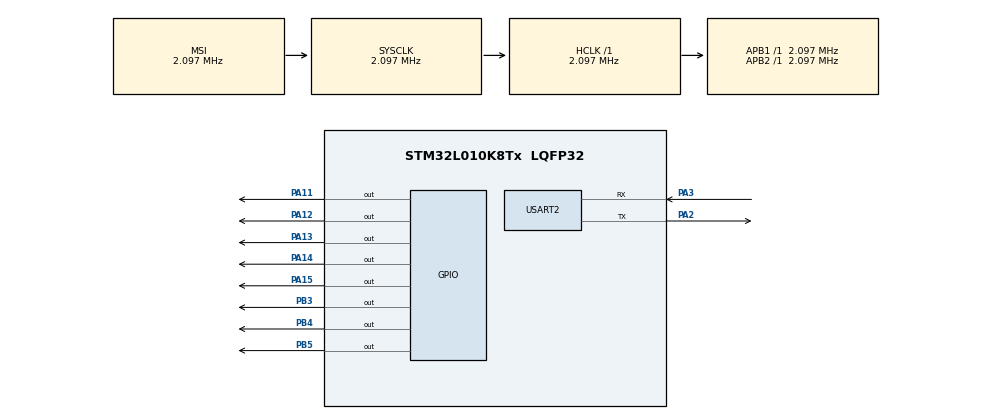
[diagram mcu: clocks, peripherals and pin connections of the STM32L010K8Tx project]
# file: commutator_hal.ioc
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Mcu.Family=STM32L0
Mcu.Name=STM32L010K8Tx
Mcu.Package=LQFP32
NVIC.USART2_IRQn=true\:0\:0\:false\:false\:true\:true\:true\:true
PA11.Signal=GPIO_Output
PA12.Signal=GPIO_Output
PA13.Signal=GPIO_Output
PA14.Signal=GPIO_Output
PA15.Signal=GPIO_Output
PA2.Mode=Asynchronous
PA2.Signal=USART2_TX
PA3.Mode=Asynchronous
PA3.Signal=USART2_RX
PB3.Signal=GPIO_Output
PB4.Signal=GPIO_Output
PB5.Signal=GPIO_Output
ProjectManager.HeapSize=0x200
ProjectManager.StackSize=0x400
ProjectManager.TargetToolchain=STM32CubeIDE
RCC.ADCFreq_Value=16000000
RCC.AHBFreq_Value=2097000
RCC.APB1Freq_Value=2097000
RCC.APB1TimFreq_Value=2097000
RCC.APB2Freq_Value=2097000
RCC.APB2TimFreq_Value=2097000
RCC.HCLKFreq_Value=2097000
RCC.HSI16_VALUE=16000000
RCC.HSICalibrationValue=16
RCC.HSI_VALUE=16000000
RCC.LSE_VALUE=32768
RCC.MSI_VALUE=2097000
RCC.PLLDIV=RCC_PLLDIV_4
RCC.PWR_Regulator_Voltage_Scale=PWR_REGULATOR_VOLTAGE_SCALE3
RCC.SYSCLKFreq_VALUE=2097000
RCC.VCOOutputFreq_Value=48000000
USART2.VirtualMode-Asynchronous=VM_ASYNC
board=custom

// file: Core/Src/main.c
/* USER CODE BEGIN Header */
/**
  ******************************************************************************
  * @file           : main.c
  * @brief          : Main program body
  ******************************************************************************
  * @attention
  *
  * Copyright (c) 2025 STMicroelectronics.
  * All rights reserved.
  *
  * This software is licensed under terms that can be found in the LICENSE file
  * in the root directory of this software component.
  * If no LICENSE file comes with this software, it is provided AS-IS.
  *
  ******************************************************************************
  */
/* USER CODE END Header */
#include "main.h"
#include "usart.h"
#include "gpio.h"

/* USER CODE BEGIN Includes */
#include "defs.h"
/* USER CODE END Includes */

/* USER CODE BEGIN PTD */
#define	UART_RX_BUFF_SIZE	0x10
/* USER CODE END PTD */

/* USER CODE BEGIN PV */
uint8_t rx[UART_RX_BUFF_SIZE];
extern uint32_t	it_state;
/* USER CODE END PV */

void SystemClock_Config(void);

int main(void)
{

  /* USER CODE BEGIN 1 */
  static uint8_t cur_state = CMD_OFF;
  /* USER CODE END 1 */

  /* MCU Configuration--------------------------------------------------------*/

  /* Reset of all peripherals, Initializes the Flash interface and the Systick. */
  HAL_Init();

  /* Configure the system clock */
  SystemClock_Config();

  /* USER CODE BEGIN SysInit */
  HAL_PWREx_EnableUltraLowPower();
  HAL_PWREx_EnableFastWakeUp();
  /* USER CODE END SysInit */

  /* Initialize all configured peripherals */
  MX_GPIO_Init();
  MX_USART2_UART_Init();

  /* Infinite loop */
  /* USER CODE BEGIN WHILE */
  urx_it ( rx, 1 );
  while (1)
  {
	  if ( it_state == 0 ){
		  HAL_SuspendTick();
		  HAL_PWR_EnterSLEEPMode( PWR_LOWPOWERREGULATOR_ON, PWR_SLEEPENTRY_WFI);
	  }
	  if ( it_state & ITSRC_URX ){
		  switch ( rx[0] )
		  {
		  	  case CMD_TV_ON:
		  	  case CMD_SMALL(CMD_TV_ON):
		  		  switch_it ( TURN_MUSIC_OFF );
		  		  switch_it ( TURN_TV_ON );
		  		  cur_state  = CMD_TV_ON;
		  		  break;
		  	  case CMD_MUSIC_ON:
		  	  case CMD_SMALL(CMD_MUSIC_ON):
		  		  switch_it ( TURN_TV_OFF );
		  		  switch_it ( TURN_MUSIC_ON );
		  		  cur_state  = CMD_MUSIC_ON;
		  		  break;
		  	  case CMD_OFF:
		  	  case CMD_SMALL(CMD_OFF):
		  		  switch_it ( TURN_ALL_OFF );
		  		  cur_state  = CMD_OFF;
		  		  break;
		  	  case CMD_GET_STATE:
		  	  case CMD_SMALL(CMD_GET_STATE):
		  		  utx( &cur_state, 1 );
		  		  break;
		  	  default:
				  break;
			}
			rx[0] = 0;
			it_state &= ~ITSRC_URX;
			urx_it ( rx, 1 );
	  }
    /* USER CODE END WHILE */

  }
}

void SystemClock_Config(void)
{
  RCC_OscInitTypeDef RCC_OscInitStruct = {0};
  RCC_ClkInitTypeDef RCC_ClkInitStruct = {0};
  RCC_PeriphCLKInitTypeDef PeriphClkInit = {0};

  /** Configure the main internal regulator output voltage
  */
  __HAL_PWR_VOLTAGESCALING_CONFIG(PWR_REGULATOR_VOLTAGE_SCALE3);

  /** Initializes the RCC Oscillators according to the specified parameters
  * in the RCC_OscInitTypeDef structure.
  */
  RCC_OscInitStruct.OscillatorType = RCC_OSCILLATORTYPE_MSI;
  RCC_OscInitStruct.MSIState = RCC_MSI_ON;
  RCC_OscInitStruct.MSICalibrationValue = 0;
  RCC_OscInitStruct.MSIClockRange = RCC_MSIRANGE_5;
  RCC_OscInitStruct.PLL.PLLState = RCC_PLL_NONE;
  if (HAL_RCC_OscConfig(&RCC_OscInitStruct) != HAL_OK)
  {
    Error_Handler();
  }

  /** Initializes the CPU, AHB and APB buses clocks
  */
  RCC_ClkInitStruct.ClockType = RCC_CLOCKTYPE_HCLK|RCC_CLOCKTYPE_SYSCLK
                              |RCC_CLOCKTYPE_PCLK1|RCC_CLOCKTYPE_PCLK2;
  RCC_ClkInitStruct.SYSCLKSource = RCC_SYSCLKSOURCE_MSI;
  RCC_ClkInitStruct.AHBCLKDivider = RCC_SYSCLK_DIV1;
  RCC_ClkInitStruct.APB1CLKDivider = RCC_HCLK_DIV1;
  RCC_ClkInitStruct.APB2CLKDivider = RCC_HCLK_DIV1;

  if (HAL_RCC_ClockConfig(&RCC_ClkInitStruct, FLASH_LATENCY_0) != HAL_OK)
  {
    Error_Handler();
  }
  PeriphClkInit.PeriphClockSelection = RCC_PERIPHCLK_USART2;
  PeriphClkInit.Usart2ClockSelection = RCC_USART2CLKSOURCE_PCLK1;
  if (HAL_RCCEx_PeriphCLKConfig(&PeriphClkInit) != HAL_OK)
  {
    Error_Handler();
  }
}

void Error_Handler(void)
{
  __disable_irq();
  while (1)
  {
  }
}
